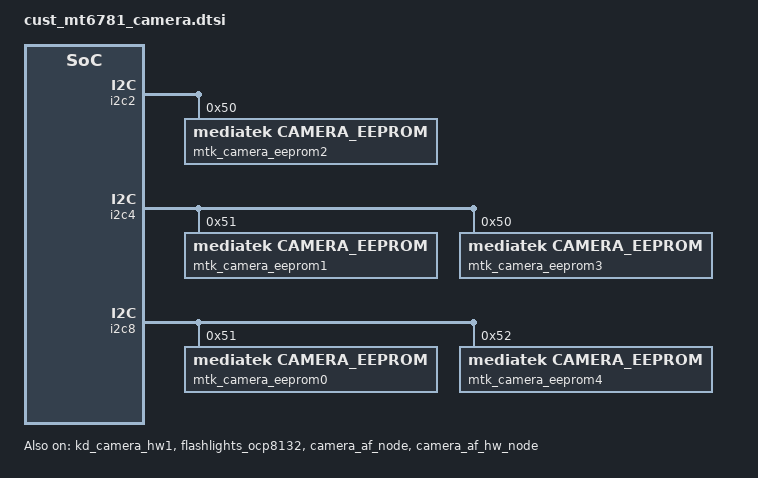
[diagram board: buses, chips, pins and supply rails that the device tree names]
/* SPDX-License-Identifier: GPL-2.0 */
/*
 * Copyright (C) 2016 MediaTek Inc.
 */

/* CAMERA GPIO standardization */
&pio {
	camera_pins_cam0_rst_0: cam0@0 {
		pins_cmd_dat {
			pinmux = <PINMUX_GPIO20__FUNC_GPIO20>;
			slew-rate = <1>;
			output-low;
		};
	};
	camera_pins_cam0_rst_1: cam0@1 {
		pins_cmd_dat {
			pinmux = <PINMUX_GPIO20__FUNC_GPIO20>;
			slew-rate = <1>;
			output-high;
		};
	};

	camera_pins_cam1_rst_0: cam1@0 {
		pins_cmd_dat {
			pinmux = <PINMUX_GPIO18__FUNC_GPIO18>;
			slew-rate = <1>;
			output-low;
		};
	};
	camera_pins_cam1_rst_1: cam1@1 {
		pins_cmd_dat {
			pinmux = <PINMUX_GPIO18__FUNC_GPIO18>;
			slew-rate = <1>;
			output-high;
		};
	};
	/*add for GPIO_CAM_DCDC_EN*/
	camera_pins_cam0_pnd_0: cam1@2 {
		pins_cmd_dat {
			pinmux = <PINMUX_GPIO29__FUNC_GPIO29>;
			slew-rate = <1>;
			output-low;
		};
	};
	camera_pins_cam0_pnd_1: cam1@3 {
		pins_cmd_dat {
			pinmux = <PINMUX_GPIO29__FUNC_GPIO29>;
			slew-rate = <1>;
			output-high;
		};
	};
	camera_pins_cam2_rst_0: cam2@0 {
		pins_cmd_dat {
			pinmux = <PINMUX_GPIO22__FUNC_GPIO22>;
			slew-rate = <1>;
			output-low;
		};
	};
	camera_pins_cam2_rst_1: cam2@1 {
		pins_cmd_dat {
			pinmux = <PINMUX_GPIO22__FUNC_GPIO22>;
			slew-rate = <1>;
			output-high;
		};
	};
	camera_pins_cam2_pnd_0: cam2@2 {
		pins_cmd_dat {
			pinmux = <PINMUX_GPIO18__FUNC_GPIO18>;
			slew-rate = <1>;
			output-low;
		};
	};
	camera_pins_cam2_pnd_1: cam2@3 {
		pins_cmd_dat {
			pinmux = <PINMUX_GPIO18__FUNC_GPIO18>;
			slew-rate = <1>;
			output-high;
		};
	};
	camera_pins_cam3_rst_0: cam3@0 {
		pins_cmd_dat {
			pinmux = <PINMUX_GPIO26__FUNC_GPIO26>;
			slew-rate = <1>;
			output-low;
		};
	};
	camera_pins_cam3_rst_1: cam3@1 {
		pins_cmd_dat {
			pinmux = <PINMUX_GPIO26__FUNC_GPIO26>;
			slew-rate = <1>;
			output-high;
		};
	};
	camera_pins_cam4_rst_0: cam4@0 {
		pins_cmd_dat {
			pinmux = <PINMUX_GPIO24__FUNC_GPIO24>;
			slew-rate = <1>;
			output-low;
		};
	};
	camera_pins_cam4_rst_1: cam4@1 {
		pins_cmd_dat {
			pinmux = <PINMUX_GPIO24__FUNC_GPIO24>;
			slew-rate = <1>;
			output-high;
		};
	};

	camera_pins_cam0_vcamd_0: cam0@vcam0 {
		pins_cmd_dat {
			pinmux = <PINMUX_GPIO167__FUNC_GPIO167>;
			slew-rate = <1>;
			output-low;
		};
	};
	camera_pins_cam0_vcamd_1: cam0@vcam1 {
		pins_cmd_dat {
			pinmux = <PINMUX_GPIO167__FUNC_GPIO167>;
			slew-rate = <1>;
			output-high;
		};
	};
	camera_pins_cam0_vcama_0: cam0@vcam2 {
		pins_cmd_dat {
			pinmux = <PINMUX_GPIO3__FUNC_GPIO3>;
			slew-rate = <1>;
			output-low;
		};
	};
	camera_pins_cam0_vcama_1: cam0@vcam3 {
		pins_cmd_dat {
			pinmux = <PINMUX_GPIO3__FUNC_GPIO3>;
			slew-rate = <1>;
			output-high;
		};
	};
	camera_pins_cam0_vcamio_0: cam0@vcam4 {
		pins_cmd_dat {
			pinmux = <PINMUX_GPIO8__FUNC_GPIO8>;
			slew-rate = <1>;
			output-low;
		};
	};
	camera_pins_cam0_vcamio_1: cam0@vcam5 {
		pins_cmd_dat {
			pinmux = <PINMUX_GPIO8__FUNC_GPIO8>;
			slew-rate = <1>;
			output-high;
		};
	};

	camera_pins_cam1_vcamd_0: cam1@vcam0 {
		pins_cmd_dat {
			pinmux = <PINMUX_GPIO98__FUNC_GPIO98>;
			slew-rate = <1>;
			output-low;
		};
	};
	camera_pins_cam1_vcamd_1: cam1@vcam1 {
		pins_cmd_dat {
			pinmux = <PINMUX_GPIO98__FUNC_GPIO98>;
			slew-rate = <1>;
			output-high;
		};
	};
	camera_pins_cam1_vcama_0: cam1@vcam2 {
		pins_cmd_dat {
			pinmux = <PINMUX_GPIO23__FUNC_GPIO23>;
			slew-rate = <1>;
			output-low;
		};
	};
	camera_pins_cam1_vcama_1: cam1@vcam3 {
		pins_cmd_dat {
			pinmux = <PINMUX_GPIO23__FUNC_GPIO23>;
			slew-rate = <1>;
			output-high;
		};
	};
	camera_pins_cam1_vcamio_0: cam1@vcam4 {
		pins_cmd_dat {
			pinmux = <PINMUX_GPIO8__FUNC_GPIO8>;
			slew-rate = <1>;
			output-low;
		};
	};
	camera_pins_cam1_vcamio_1: cam1@vcam5 {
		pins_cmd_dat {
			pinmux = <PINMUX_GPIO8__FUNC_GPIO8>;
			slew-rate = <1>;
			output-high;
		};
	};

	camera_pins_cam2_vcamd_0: cam2@vcam0 {
		pins_cmd_dat {
			pinmux = <PINMUX_GPIO41__FUNC_GPIO41>;
			slew-rate = <1>;
			output-low;
		};
	};
	camera_pins_cam2_vcamd_1: cam2@vcam1 {
		pins_cmd_dat {
			pinmux = <PINMUX_GPIO41__FUNC_GPIO41>; 
			slew-rate = <1>;
			output-high;
		};
	};
	camera_pins_cam2_vcama_0: cam2@vcam2 {
		pins_cmd_dat {
			pinmux = <PINMUX_GPIO23__FUNC_GPIO23>;
			slew-rate = <1>;
			output-low;
		};
	};
	camera_pins_cam2_vcama_1: cam2@vcam3 {
		pins_cmd_dat {
			pinmux = <PINMUX_GPIO23__FUNC_GPIO23>;
			slew-rate = <1>;
			output-high;
		};
	};
	camera_pins_cam2_vcamio_0: cam2@vcam4 {
		pins_cmd_dat {
			pinmux = <PINMUX_GPIO8__FUNC_GPIO8>;
			slew-rate = <1>;
			output-low;
		};
	};
	camera_pins_cam2_vcamio_1: cam2@vcam5 {
		pins_cmd_dat {
			pinmux = <PINMUX_GPIO8__FUNC_GPIO8>;
			slew-rate = <1>;
			output-high;
		};
	};

	camera_pins_cam3_vcamd_0: cam3@vcam0 {
		pins_cmd_dat {
			pinmux = <PINMUX_GPIO30__FUNC_GPIO30>;
			slew-rate = <1>;
			output-low;
		};
	};
	camera_pins_cam3_vcamd_1: cam3@vcam1 {
		pins_cmd_dat {
			pinmux = <PINMUX_GPIO30__FUNC_GPIO30>;
			slew-rate = <1>;
			output-high;
		};
	};
	camera_pins_cam3_vcama_0: cam3@vcam2 {
		pins_cmd_dat {
			pinmux = <PINMUX_GPIO23__FUNC_GPIO23>;
			slew-rate = <1>;
			output-low;
		};
	};
	camera_pins_cam3_vcama_1: cam3@vcam3 {
		pins_cmd_dat {
			pinmux = <PINMUX_GPIO23__FUNC_GPIO23>;
			slew-rate = <1>;
			output-high;
		};
	};
	camera_pins_cam3_vcamio_0: cam3@vcam4 {
		pins_cmd_dat {
			pinmux = <PINMUX_GPIO30__FUNC_GPIO30>;
			slew-rate = <1>;
			output-low;
		};
	};
	camera_pins_cam3_vcamio_1: cam3@vcam5 {
		pins_cmd_dat {
			pinmux = <PINMUX_GPIO30__FUNC_GPIO30>;
			slew-rate = <1>;
			output-high;
		};
	};

	camera_pins_cam4_vcamd_0: cam4@vcam0 {
		pins_cmd_dat {
			pinmux = <PINMUX_GPIO30__FUNC_GPIO30>;
			slew-rate = <1>;
			output-low;
		};
	};
	camera_pins_cam4_vcamd_1: cam4@vcam1 {
		pins_cmd_dat {
			pinmux = <PINMUX_GPIO30__FUNC_GPIO30>;
			slew-rate = <1>;
			output-high;
		};
	};
	camera_pins_cam4_vcama_0: cam4@vcam2 {
		pins_cmd_dat {
			pinmux = <PINMUX_GPIO23__FUNC_GPIO23>;
			slew-rate = <1>;
			output-low;
		};
	};
	camera_pins_cam4_vcama_1: cam4@vcam3 {
		pins_cmd_dat {
			pinmux = <PINMUX_GPIO23__FUNC_GPIO23>;
			slew-rate = <1>;
			output-high;
		};
	};
	camera_pins_cam4_vcamio_0: cam4@vcam4 {
		pins_cmd_dat {
			pinmux = <PINMUX_GPIO30__FUNC_GPIO30>;
			slew-rate = <1>;
			output-low;
		};
	};
	camera_pins_cam4_vcamio_1: cam4@vcam5 {
		pins_cmd_dat {
			pinmux = <PINMUX_GPIO30__FUNC_GPIO30>;
			slew-rate = <1>;
			output-high;
		};
	};
	camera_pins_cam0_mclk_off: camera_pins_cam0_mclk_off {
		pins_cmd_dat {
			pinmux = <PINMUX_GPIO141__FUNC_GPIO141>;
			drive-strength = <1>;
		};
	};
	camera_pins_cam0_mclk_2ma: camera_pins_cam0_mclk_2ma {
		pins_cmd_dat {
			pinmux = <PINMUX_GPIO141__FUNC_CMMCLK1>;
			drive-strength = <0>;
		};
	};
	camera_pins_cam0_mclk_4ma: camera_pins_cam0_mclk_4ma {
		pins_cmd_dat {
			pinmux = <PINMUX_GPIO141__FUNC_CMMCLK1>;
			drive-strength = <1>;
		};
	};
	camera_pins_cam0_mclk_6ma: camera_pins_cam0_mclk_6ma {
		pins_cmd_dat {
			pinmux = <PINMUX_GPIO141__FUNC_CMMCLK1>;
			drive-strength = <2>;
		};
	};
	camera_pins_cam0_mclk_8ma: camera_pins_cam0_mclk_8ma {
		pins_cmd_dat {
			pinmux = <PINMUX_GPIO141__FUNC_CMMCLK1>;
			drive-strength = <3>;
		};
	};
	camera_pins_cam1_mclk_off: camera_pins_cam1_mclk_off {
		pins_cmd_dat {
			pinmux = <PINMUX_GPIO140__FUNC_GPIO140>;
			drive-strength = <1>;
		};
	};
	camera_pins_cam1_mclk_2ma: camera_pins_cam1_mclk_2ma {
		pins_cmd_dat {
			pinmux = <PINMUX_GPIO140__FUNC_CMMCLK0>;
			drive-strength = <0>;
		};
	};
	camera_pins_cam1_mclk_4ma: camera_pins_cam1_mclk_4ma {
		pins_cmd_dat {
			pinmux = <PINMUX_GPIO140__FUNC_CMMCLK0>;
			drive-strength = <1>;
		};
	};
	camera_pins_cam1_mclk_6ma: camera_pins_cam1_mclk_6ma {
		pins_cmd_dat {
			pinmux = <PINMUX_GPIO140__FUNC_CMMCLK0>;
			drive-strength = <2>;
		};
	};
	camera_pins_cam1_mclk_8ma: camera_pins_cam1_mclk_8ma {
		pins_cmd_dat {
			pinmux = <PINMUX_GPIO140__FUNC_CMMCLK0>;
			drive-strength = <3>;
		};
	};
	camera_pins_cam2_mclk_off: camera_pins_cam2_mclk_off {
		pins_cmd_dat {
			pinmux = <PINMUX_GPIO142__FUNC_GPIO142>;
			drive-strength = <1>;
		};
	};
	camera_pins_cam2_mclk_2ma: camera_pins_cam2_mclk_2ma {
		pins_cmd_dat {
			pinmux = <PINMUX_GPIO142__FUNC_CMMCLK2>;
			drive-strength = <0>;
		};
	};
	camera_pins_cam2_mclk_4ma: camera_pins_cam2_mclk_4ma {
		pins_cmd_dat {
			pinmux = <PINMUX_GPIO142__FUNC_CMMCLK2>;
			drive-strength = <1>;
		};
	};
	camera_pins_cam2_mclk_6ma: camera_pins_cam2_mclk_6ma {
		pins_cmd_dat {
			pinmux = <PINMUX_GPIO142__FUNC_CMMCLK2>;
			drive-strength = <2>;
		};
	};
	camera_pins_cam2_mclk_8ma: camera_pins_cam2_mclk_8ma {
		pins_cmd_dat {
			pinmux = <PINMUX_GPIO142__FUNC_CMMCLK2>;
			drive-strength = <3>;
		};
	};
	camera_pins_cam3_mclk_off: camera_pins_cam3_mclk_off {
		pins_cmd_dat {
			pinmux = <PINMUX_GPIO60__FUNC_GPIO60>;
			drive-strength = <1>;
		};
	};
	camera_pins_cam3_mclk_2ma: camera_pins_cam3_mclk_2ma {
		pins_cmd_dat {
			pinmux = <PINMUX_GPIO60__FUNC_CMMCLK4>;
			drive-strength = <0>;
		};
	};
	camera_pins_cam3_mclk_4ma: camera_pins_cam3_mclk_4ma {
		pins_cmd_dat {
			pinmux = <PINMUX_GPIO60__FUNC_CMMCLK4>;
			drive-strength = <1>;
		};
	};
	camera_pins_cam3_mclk_6ma: camera_pins_cam3_mclk_6ma {
		pins_cmd_dat {
			pinmux = <PINMUX_GPIO60__FUNC_CMMCLK4>;
			drive-strength = <2>;
		};
	};
	camera_pins_cam3_mclk_8ma: camera_pins_cam3_mclk_8ma {
		pins_cmd_dat {
			pinmux = <PINMUX_GPIO60__FUNC_CMMCLK4>;
			drive-strength = <3>;
		};
	};
	camera_pins_cam4_mclk_off: camera_pins_cam4_mclk_off {
		pins_cmd_dat {
			pinmux = <PINMUX_GPIO143__FUNC_GPIO143>;
			drive-strength = <1>;
		};
	};
	camera_pins_cam4_mclk_2ma: camera_pins_cam4_mclk_2ma {
		pins_cmd_dat {
			pinmux = <PINMUX_GPIO143__FUNC_CMMCLK3>;
			drive-strength = <0>;
		};
	};
	camera_pins_cam4_mclk_4ma: camera_pins_cam4_mclk_4ma {
		pins_cmd_dat {
			pinmux = <PINMUX_GPIO143__FUNC_CMMCLK3>;
			drive-strength = <1>;
		};
	};
	camera_pins_cam4_mclk_6ma: camera_pins_cam4_mclk_6ma {
		pins_cmd_dat {
			pinmux = <PINMUX_GPIO143__FUNC_CMMCLK3>;
			drive-strength = <2>;
		};
	};
	camera_pins_cam4_mclk_8ma: camera_pins_cam4_mclk_8ma {
		pins_cmd_dat {
			pinmux = <PINMUX_GPIO143__FUNC_CMMCLK3>;
			drive-strength = <3>;
		};
	};
	camera_pins_default: camdefault {
	};

	flashlight_pins_default: flashlightdefault {
	};
	flashlight_pins_en_output1: flashlightenoutput1 {
		pins_cmd_dat {
			pinmux = <PINMUX_GPIO168__FUNC_GPIO168>;
			slew-rate = <1>;
			output-high;
		};
	};
	flashlight_pins_en_output0: flashlightenoutput0 {
		pins_cmd_dat {
			pinmux = <PINMUX_GPIO168__FUNC_GPIO168>;
			slew-rate = <1>;
			output-low;
		};
	};
	flashlight_pins_sel_output1: flashlightseloutput1 {
		pins_cmd_dat {
			pinmux = <PINMUX_GPIO169__FUNC_GPIO169>;
			slew-rate = <1>;
			output-high;
		};
	};
	flashlight_pins_sel_output0: flashlightseloutput0 {
		pins_cmd_dat {
			pinmux = <PINMUX_GPIO169__FUNC_GPIO169>;
			slew-rate = <1>;
			output-low;
		};
	};
};
&kd_camera_hw1 {
	pinctrl-names = "default",
			"cam0_rst0", "cam0_rst1",
			"cam1_rst0", "cam1_rst1",
			"cam0_pnd0", "cam0_pnd1",
			"cam2_rst0", "cam2_rst1",
			"cam2_pnd0", "cam2_pnd1",
			"cam3_rst0", "cam3_rst1",
			"cam4_rst0", "cam4_rst1",
			"cam0_ldo_vcamd_0", "cam0_ldo_vcamd_1",
			"cam0_ldo_vcama_0", "cam0_ldo_vcama_1",
			"cam0_ldo_vcamio_0", "cam0_ldo_vcamio_1",
			"cam1_ldo_vcamd_0", "cam1_ldo_vcamd_1",
			"cam1_ldo_vcama_0", "cam1_ldo_vcama_1",
			"cam1_ldo_vcamio_0", "cam1_ldo_vcamio_1",
			"cam2_ldo_vcamd_0", "cam2_ldo_vcamd_1",
			"cam2_ldo_vcama_0", "cam2_ldo_vcama_1",
			"cam2_ldo_vcamio_0", "cam2_ldo_vcamio_1",
			"cam3_ldo_vcamd_0", "cam3_ldo_vcamd_1",
			"cam3_ldo_vcama_0", "cam3_ldo_vcama_1",
			"cam3_ldo_vcamio_0", "cam3_ldo_vcamio_1",
			"cam4_ldo_vcamd_0", "cam4_ldo_vcamd_1",
			"cam4_ldo_vcama_0", "cam4_ldo_vcama_1",
			"cam4_ldo_vcamio_0", "cam4_ldo_vcamio_1",
			"cam0_mclk_off",
			"cam0_mclk_2mA", "cam0_mclk_4mA",
			"cam0_mclk_6mA", "cam0_mclk_8mA",
			"cam1_mclk_off",
			"cam1_mclk_2mA", "cam1_mclk_4mA",
			"cam1_mclk_6mA", "cam1_mclk_8mA",
			"cam2_mclk_off",
			"cam2_mclk_2mA", "cam2_mclk_4mA",
			"cam2_mclk_6mA", "cam2_mclk_8mA",
			"cam3_mclk_off",
			"cam3_mclk_2mA", "cam3_mclk_4mA",
			"cam3_mclk_6mA", "cam3_mclk_8mA",
			"cam4_mclk_off",
			"cam4_mclk_2mA", "cam4_mclk_4mA",
			"cam4_mclk_6mA", "cam4_mclk_8mA";
	pinctrl-0 = <&camera_pins_default>;
	pinctrl-1 = <&camera_pins_cam0_rst_0>;
	pinctrl-2 = <&camera_pins_cam0_rst_1>;
	pinctrl-3 = <&camera_pins_cam1_rst_0>;
	pinctrl-4 = <&camera_pins_cam1_rst_1>;
	pinctrl-5 = <&camera_pins_cam0_pnd_0>;
	pinctrl-6 = <&camera_pins_cam0_pnd_1>;
	pinctrl-7 = <&camera_pins_cam2_rst_0>;
	pinctrl-8 = <&camera_pins_cam2_rst_1>;
	pinctrl-9 = <&camera_pins_cam2_pnd_0>;
	pinctrl-10 = <&camera_pins_cam2_pnd_1>;
	pinctrl-11 = <&camera_pins_cam3_rst_0>;
	pinctrl-12 = <&camera_pins_cam3_rst_1>;
	pinctrl-13 = <&camera_pins_cam4_rst_0>;
	pinctrl-14 = <&camera_pins_cam4_rst_1>;
	pinctrl-15 = <&camera_pins_cam0_vcamd_0>;
	pinctrl-16 = <&camera_pins_cam0_vcamd_1>;
	pinctrl-17 = <&camera_pins_cam0_vcama_0>;
	pinctrl-18 = <&camera_pins_cam0_vcama_1>;
	pinctrl-19 = <&camera_pins_cam0_vcamio_0>;
	pinctrl-20 = <&camera_pins_cam0_vcamio_1>;
	pinctrl-21 = <&camera_pins_cam1_vcamd_0>;
	pinctrl-22 = <&camera_pins_cam1_vcamd_1>;
	pinctrl-23 = <&camera_pins_cam1_vcama_0>;
	pinctrl-24 = <&camera_pins_cam1_vcama_1>;
	pinctrl-25 = <&camera_pins_cam1_vcamio_0>;
	pinctrl-26 = <&camera_pins_cam1_vcamio_1>;
	pinctrl-27 = <&camera_pins_cam2_vcamd_0>;
	pinctrl-28 = <&camera_pins_cam2_vcamd_1>;
	pinctrl-29 = <&camera_pins_cam2_vcama_0>;
	pinctrl-30 = <&camera_pins_cam2_vcama_1>;
	pinctrl-31 = <&camera_pins_cam2_vcamio_0>;
	pinctrl-32 = <&camera_pins_cam2_vcamio_1>;
	pinctrl-33 = <&camera_pins_cam3_vcamd_0>;
	pinctrl-34 = <&camera_pins_cam3_vcamd_1>;
	pinctrl-35 = <&camera_pins_cam3_vcama_0>;
	pinctrl-36 = <&camera_pins_cam3_vcama_1>;
	pinctrl-37 = <&camera_pins_cam3_vcamio_0>;
	pinctrl-38 = <&camera_pins_cam3_vcamio_1>;
	pinctrl-39 = <&camera_pins_cam4_vcamd_0>;
	pinctrl-40 = <&camera_pins_cam4_vcamd_1>;
	pinctrl-41 = <&camera_pins_cam4_vcama_0>;
	pinctrl-42 = <&camera_pins_cam4_vcama_1>;
	pinctrl-43 = <&camera_pins_cam4_vcamio_0>;
	pinctrl-44 = <&camera_pins_cam4_vcamio_1>;
	pinctrl-45 = <&camera_pins_cam0_mclk_off>;
	pinctrl-46 = <&camera_pins_cam0_mclk_2ma>;
	pinctrl-47 = <&camera_pins_cam0_mclk_4ma>;
	pinctrl-48 = <&camera_pins_cam0_mclk_6ma>;
	pinctrl-49 = <&camera_pins_cam0_mclk_8ma>;
	pinctrl-50 = <&camera_pins_cam1_mclk_off>;
	pinctrl-51 = <&camera_pins_cam1_mclk_2ma>;
	pinctrl-52 = <&camera_pins_cam1_mclk_4ma>;
	pinctrl-53 = <&camera_pins_cam1_mclk_6ma>;
	pinctrl-54 = <&camera_pins_cam1_mclk_8ma>;
	pinctrl-55 = <&camera_pins_cam2_mclk_off>;
	pinctrl-56 = <&camera_pins_cam2_mclk_2ma>;
	pinctrl-57 = <&camera_pins_cam2_mclk_4ma>;
	pinctrl-58 = <&camera_pins_cam2_mclk_6ma>;
	pinctrl-59 = <&camera_pins_cam2_mclk_8ma>;
	pinctrl-60 = <&camera_pins_cam3_mclk_off>;
	pinctrl-61 = <&camera_pins_cam3_mclk_2ma>;
	pinctrl-62 = <&camera_pins_cam3_mclk_4ma>;
	pinctrl-63 = <&camera_pins_cam3_mclk_6ma>;
	pinctrl-64 = <&camera_pins_cam3_mclk_8ma>;
	pinctrl-65 = <&camera_pins_cam4_mclk_off>;
	pinctrl-66 = <&camera_pins_cam4_mclk_2ma>;
	pinctrl-67 = <&camera_pins_cam4_mclk_4ma>;
	pinctrl-68 = <&camera_pins_cam4_mclk_6ma>;
	pinctrl-69 = <&camera_pins_cam4_mclk_8ma>;

	cam0_enable_sensor = "s5khm2sd_main_ofilm_mipi_raw s5khm2sd_main_semco_mipi_raw ov64b40_main_sunny_mipi_raw ov64b40_main_aac_mipi_raw ov64b40_main_ofilm_mipi_raw";
	cam1_enable_sensor = "imx471_front_sunny_mipi_raw imx471_front_ofilm_mipi_raw";
	cam2_enable_sensor = "imx355_ultra_ofilm_mipi_raw s5k4h7_ultra_sunny_mipi_raw";
	cam3_enable_sensor = "ov02b1b_depth_sunny_mipi_raw ov02b1b_depth_truly_mipi_raw ov02b1b_depth_sunny2_mipi_raw";
	cam4_enable_sensor = "gc02m1_macro_ofilm_mipi_raw gc02m1_macro_aac_mipi_raw";
	status = "okay";
};
&flashlights_ocp8132 {
	pinctrl-names = "default", "hw_ch0_high",
		"hw_ch0_low", "hw_ch1_high",
		"hw_ch1_low";
	pinctrl-0 = <&flashlight_pins_default>;
	pinctrl-1 = <&flashlight_pins_en_output1>;
	pinctrl-2 = <&flashlight_pins_en_output0>;
	pinctrl-3 = <&flashlight_pins_sel_output1>;
	pinctrl-4 = <&flashlight_pins_sel_output0>;
	status = "okay";
};

/* CAMERA AF */
&camera_af_node {
	cam0_vcamaf-supply = <&mt_pmic_vibr_ldo_reg>;
	status = "okay";
};

/* CAMERA EEPROM */
&i2c2 {
	// UW
	mtk_camera_eeprom2:camera_eeprom2@50 {
		compatible = "mediatek,camera_eeprom";
		reg = <0x50>;
		status = "okay";
	};
};
&i2c4 {
	// Front
	mtk_camera_eeprom1:camera_eeprom1@51 {
		compatible = "mediatek,camera_eeprom";
		reg = <0x51>;
		status = "okay";
	};
	// Depth
	mtk_camera_eeprom3:camera_eeprom3@50 {
		compatible = "mediatek,camera_eeprom";
		reg = <0x50>;
		status = "okay";
	};
};
&i2c8 {
	// Main
	mtk_camera_eeprom0:camera_eeprom0@51 {
		compatible = "mediatek,camera_eeprom";
		reg = <0x51>;
		status = "okay";
	};
	// Macro
        mtk_camera_eeprom4:camera_eeprom4@52 {
                compatible = "mediatek,camera_eeprom";
                reg = <0x52>;
                status = "okay";
        };
};
/* CAMERA EEPROM end */

/* CAMERA AF */
&camera_af_hw_node {
	camaf_m1_pmic-supply = <&rt5133_ldo3>;
	camaf_m2_pmic-supply = <&rt5133_ldo2>;
	camaf_m3_pmic-supply = <&rt5133_gpio1>;
	status = "okay";
};
/* CAMERA AF end */
